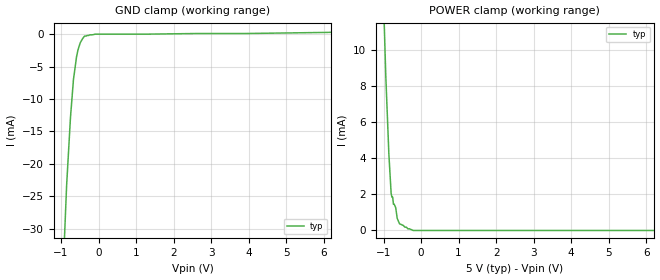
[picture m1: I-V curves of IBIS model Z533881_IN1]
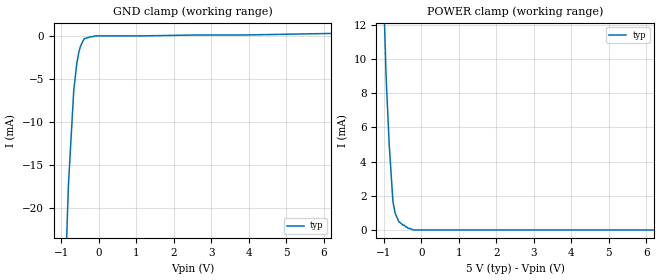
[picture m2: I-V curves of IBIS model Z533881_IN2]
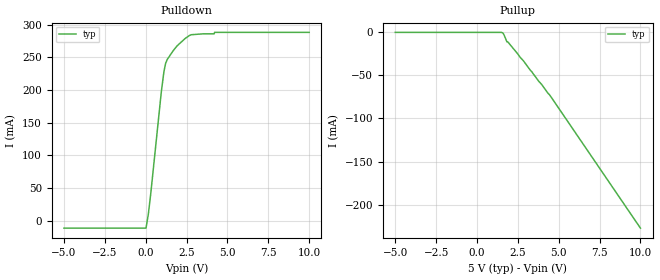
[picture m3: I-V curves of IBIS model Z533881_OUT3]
| YOU ARE ONLY AUTHORIZED TO USE THIS SOFTWARE
| ACCORDING TO LICENSOR'S LICENSE RESTRICTIONS.
[IBIS Ver] 3.1
[File Name] mc100elt23d_pecl.ibs
[File Rev] 2.0
[Source] Measured and created by ICX Technology
[Date] Friday 7/14/00 9:07:48 AM
[Copyright]
| (C) COPYRIGHT 1993-2000
| MENTOR GRAPHICS CORPORATION
| ICX STANDARD LIBRARY, ICX PROJECT MODELING,
| ICX CUSTOM MODELING, ICX VENDOR MODEL
| ALL RIGHTS RESERVED.
| THE FOLLOWING ARE TRADEMARKS OR SERVICE MARKS OF
| MENTOR GRAPHICS CORPORATION:ICX (R), ICX STANDARD
| LIBRARY(R), ICX PROJECT MODELING(R), ICX CUSTOM
| MODELING(R), qualityIBIS(TM), MODELVIEWER(TM),
| AND MODELEDITOR(TM)
| ALL COPIES OF SOFTWARE, INCLUDING BUT NOT LIMITED TO
| ANY MODIFICATIONS, ENHANCEMENTS OR DERIVATIVE WORKS,
| MUST CONTAIN ALL MENTOR GRAPHICS CORPORATION'S
| NOTICES AND LEGENDS, INCLUDING THOSE EMBEDDED IN
| SOFTWARE AND THOSE AFFIXED TO SOFTWARE MEDIUM
| AND CONTAINER, AS RECEIVED FROM MENTOR GRAPHICS
| CORPORATION.
|  ZAP Model Builder 2.7
[Component] MC100ELT23D_PECL
[Manufacturer] OnSemiconductor
[Package]
| variable   typ   min   max
R_pkg  .152ohms NA NA
L_pkg  2.714nH NA NA
C_pkg  .364pF NA NA
[Pin] signal_name  model_name  R_pin  L_pin C_pin
1 D0 Z533881_IN1 .154 2.924n .374p
2 _D0 Z533881_IN2 .15 2.504n .354p
3 _D1 Z533881_IN2 .15 2.504n .354p
4 D1 Z533881_IN1 .154 2.924n .374p
5 GND GND .154 2.924n .374p
6 Q1 Z533881_OUT3 .15 2.504n .354p
7 Q2 Z533881_OUT3 .15 2.504n .354p
8 VCC POWER .154 2.924n .374p
| Models and submodels in the file (3): Z533881_IN1 (Input_ECL), Z533881_IN2 (Input), Z533881_OUT3 (Output)
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| (C) COPYRIGHT 1993-2000
| MENTOR GRAPHICS CORPORATION
| ICX STANDARD LIBRARY, ICX PROJECT MODELING,
| ICX CUSTOM MODELING, ICX VENDOR MODEL
| ALL RIGHTS RESERVED.
| THE FOLLOWING ARE TRADEMARKS OR SERVICE MARKS OF
| MENTOR GRAPHICS CORPORATION:ICX (R), ICX STANDARD
| LIBRARY(R), ICX PROJECT MODELING(R), ICX CUSTOM
| MODELING(R), qualityIBIS(TM), MODELVIEWER(TM),
| AND MODELEDITOR(TM)
| ALL COPIES OF SOFTWARE, INCLUDING BUT NOT LIMITED TO
| ANY MODIFICATIONS, ENHANCEMENTS OR DERIVATIVE WORKS,
| MUST CONTAIN ALL MENTOR GRAPHICS CORPORATION'S
| NOTICES AND LEGENDS, INCLUDING THOSE EMBEDDED IN
| SOFTWARE AND THOSE AFFIXED TO SOFTWARE MEDIUM
| AND CONTAINER, AS RECEIVED FROM MENTOR GRAPHICS
| CORPORATION.
| Model Application Version 1.89 2/18/99.
[Model] Z533881_IN1
Model_type Input_ECL
Vinl = 3.525V
Vinh = 3.835V
C_comp 4.000pF NA NA
| variable typ   min   max
[Voltage Range] 5.000V NA NA
[GND Clamp Reference] 0.000V NA NA
[POWER Clamp Reference] 5.000V NA NA
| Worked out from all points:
|   GND clamp passes 1 mA (typ) near -0.46 V on its own axis
|   POWER clamp passes 1 mA (typ) near -0.66 V on its own axis
[GND Clamp]
-5V       -790.1mA   NA         NA
-1.054V   -52.1mA    NA         NA
-851mV    -23.3mA    NA         NA
-749mV    -12.9mA    NA         NA
-669mV    -7mA       NA         NA
-587mV    -3.5mA     NA         NA
-547mV    -2.4mA     NA         NA
-486mV    -1.3mA     NA         NA
-374.5mV  -300uA     NA         NA
-91mV     0A         NA         NA
3.922V    100uA      NA         NA
10V       572.3uA    NA         NA
[POWER Clamp]
-5V       941mA      NA         NA
-1.02V    14.14mA    NA         NA
-939mV    8.543mA    NA         NA
-858mV    4.25mA     NA         NA
-797mV    2.054mA    NA         NA
-757mV    1.857mA    NA         NA
-736.5mV  1.461mA    NA         NA
-675mV    1.264mA    NA         NA
-635mV    666.9uA    NA         NA
-574mV    371.6uA    NA         NA
-351.5mV  92.07uA    NA         NA
10V       0A         NA         NA
| (C) COPYRIGHT 1993-2000
| MENTOR GRAPHICS CORPORATION
| ICX STANDARD LIBRARY, ICX PROJECT MODELING,
| ICX CUSTOM MODELING, ICX VENDOR MODEL
| ALL RIGHTS RESERVED.
| THE FOLLOWING ARE TRADEMARKS OR SERVICE MARKS OF
| MENTOR GRAPHICS CORPORATION:ICX (R), ICX STANDARD
| LIBRARY(R), ICX PROJECT MODELING(R), ICX CUSTOM
| MODELING(R), qualityIBIS(TM), MODELVIEWER(TM),
| AND MODELEDITOR(TM)
| ALL COPIES OF SOFTWARE, INCLUDING BUT NOT LIMITED TO
| ANY MODIFICATIONS, ENHANCEMENTS OR DERIVATIVE WORKS,
| MUST CONTAIN ALL MENTOR GRAPHICS CORPORATION'S
| NOTICES AND LEGENDS, INCLUDING THOSE EMBEDDED IN
| SOFTWARE AND THOSE AFFIXED TO SOFTWARE MEDIUM
| AND CONTAINER, AS RECEIVED FROM MENTOR GRAPHICS
| CORPORATION.
| Model Application Version 1.89 2/18/99.
[Model] Z533881_IN2
Model_type Input
Vinl = 800.0mV
Vinh = 2.000V
C_comp 4.000pF NA NA
| variable typ   min   max
[Voltage Range] 5.000V NA NA
[GND Clamp Reference] 0.000V NA NA
[POWER Clamp Reference] 5.000V NA NA
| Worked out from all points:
|   GND clamp passes 1 mA (typ) near -0.47 V on its own axis
|   POWER clamp passes 1 mA (typ) near -0.70 V on its own axis
[GND Clamp]
-5V       -770.7mA   NA         NA
-1.013V   -44mA      NA         NA
-811mV    -17.4mA    NA         NA
-669mV    -6.4mA     NA         NA
-587mV    -3.2mA     NA         NA
-527mV    -1.8mA     NA         NA
-486mV    -1.2mA     NA         NA
-384.5mV  -300uA     NA         NA
-91mV     0A         NA         NA
3.922V    100uA      NA         NA
10V       572.3uA    NA         NA
[POWER Clamp]
-5V       818mA      NA         NA
-1.061V   18.03mA    NA         NA
-939mV    8.943mA    NA         NA
-858mV    5.05mA     NA         NA
-757mV    1.657mA    NA         NA
-696mV    962.2uA    NA         NA
-594mV    470.1uA    NA         NA
-351.5mV  92.07uA    NA         NA
-207.3mV  0A         NA         NA
10V       0A         NA         NA
| (C) COPYRIGHT 1993-2000
| MENTOR GRAPHICS CORPORATION
| ICX STANDARD LIBRARY, ICX PROJECT MODELING,
| ICX CUSTOM MODELING, ICX VENDOR MODEL
| ALL RIGHTS RESERVED.
| THE FOLLOWING ARE TRADEMARKS OR SERVICE MARKS OF
| MENTOR GRAPHICS CORPORATION:ICX (R), ICX STANDARD
| LIBRARY(R), ICX PROJECT MODELING(R), ICX CUSTOM
| MODELING(R), qualityIBIS(TM), MODELVIEWER(TM),
| AND MODELEDITOR(TM)
| ALL COPIES OF SOFTWARE, INCLUDING BUT NOT LIMITED TO
| ANY MODIFICATIONS, ENHANCEMENTS OR DERIVATIVE WORKS,
| MUST CONTAIN ALL MENTOR GRAPHICS CORPORATION'S
| NOTICES AND LEGENDS, INCLUDING THOSE EMBEDDED IN
| SOFTWARE AND THOSE AFFIXED TO SOFTWARE MEDIUM
| AND CONTAINER, AS RECEIVED FROM MENTOR GRAPHICS
| CORPORATION.
| Model Application Version 1.89 2/18/99.
[Model] Z533881_OUT3
Model_type Output
Vref=0.000V
Rref=500.0Mohms
Cref=30.00pF
Vmeas=1.500V
C_comp 8.000pF NA NA
| variable typ   min   max
[Voltage Range] 5.000V NA NA
[POWER Clamp Reference] 5.000V NA NA
[Pullup Reference] 5.000V NA NA
[Pulldown Reference] 0.000V NA NA
[GND Clamp Reference] 0.000V NA NA
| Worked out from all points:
|   slope of the pulldown table from 0 to 0.75 V, typ, clamps not added: 4.72 ohm
[GND Clamp]
-5V       0A         NA         NA
10V       0A         NA         NA
[Pulldown]
-5V       -11.2mA    NA         NA
20mV      -11.2mA    NA         NA
162mV     10.3mA     NA         NA
303mV     40mA       NA         NA
952mV     196.3mA    NA         NA
1.114V    227.8mA    NA         NA
1.216V    240.5mA    NA         NA
1.702V    260.7mA    NA         NA
2.452V    279.5mA    NA         NA
2.776V    284.4mA    NA         NA
4.216V    288mA      NA         NA
10V       288mA      NA         NA
[Pullup]
-5V       0A         NA         NA
1.458V    0A         NA         NA
1.6V      -1mA       NA         NA
1.833V    -11mA      NA         NA
1.884V    -11mA      NA         NA
2.837V    -32.9mA    NA         NA
4.438V    -72.4mA    NA         NA
10V       -227.4mA   NA         NA
[POWER Clamp]
-5V       0A         NA         NA
10V       0A         NA         NA
[Ramp]
| variable typ min max
dV/dt_r 1.113/1.943n NA NA
dV/dt_f 1.113/925.6p NA NA
R_load = 50.00Ohms
